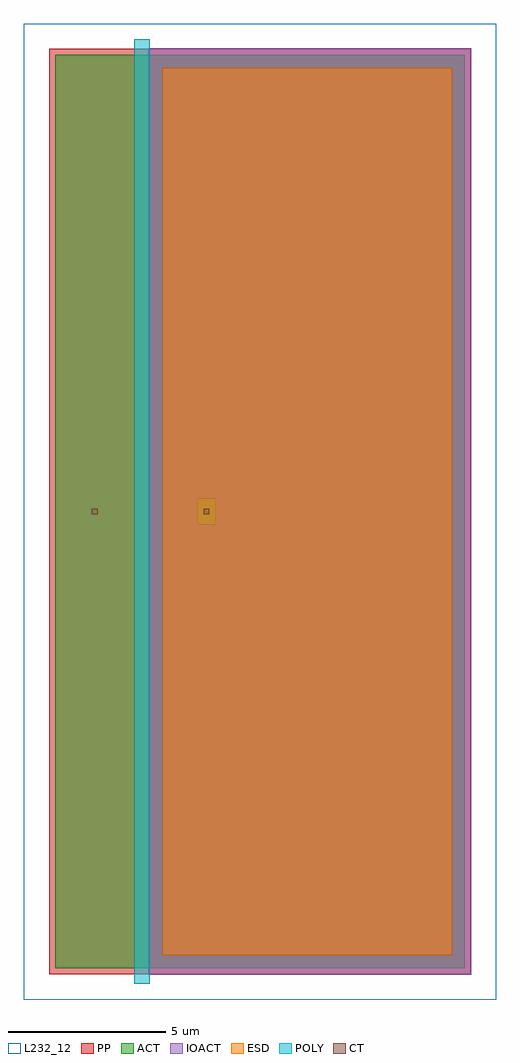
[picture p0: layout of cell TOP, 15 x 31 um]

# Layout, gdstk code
import gdstk
lib = gdstk.Library(unit=1e-6, precision=1e-09)
def R(c, l, rs):  # rectangles x0, y0, x1, y1
    for r in rs: c.add(gdstk.rectangle(r[:2], r[2:], *l))
ACT = (2, 1)
POLY = (41, 1)
PP = (53, 1)
ESD = (55, 1)
IOACT = (71, 1)
CT = (72, 1)
L232_12 = (232, 12)

top = lib.new_cell('TOP')
R(top, ACT, [(0,0,13,29)])
R(top, POLY, [(2.5,-0.5,3,29.5)])
R(top, PP, [(-0.2,-0.2,13.2,29.2)])
R(top, ESD, [(3.4,0.4,12.6,28.6)])
R(top, IOACT, [(2.95,-0.21,13.21,14.1), (2.95,14.1,4.5,14.9), (5.1,14.1,13.21,14.9), (2.95,14.9,13.21,29.21)])
R(top, CT, [(1.16,14.41,1.34,14.59), (4.71,14.41,4.89,14.59)])
R(top, L232_12, [(-1,-1,14,30)])

lib.write_gds('TOP.gds')
